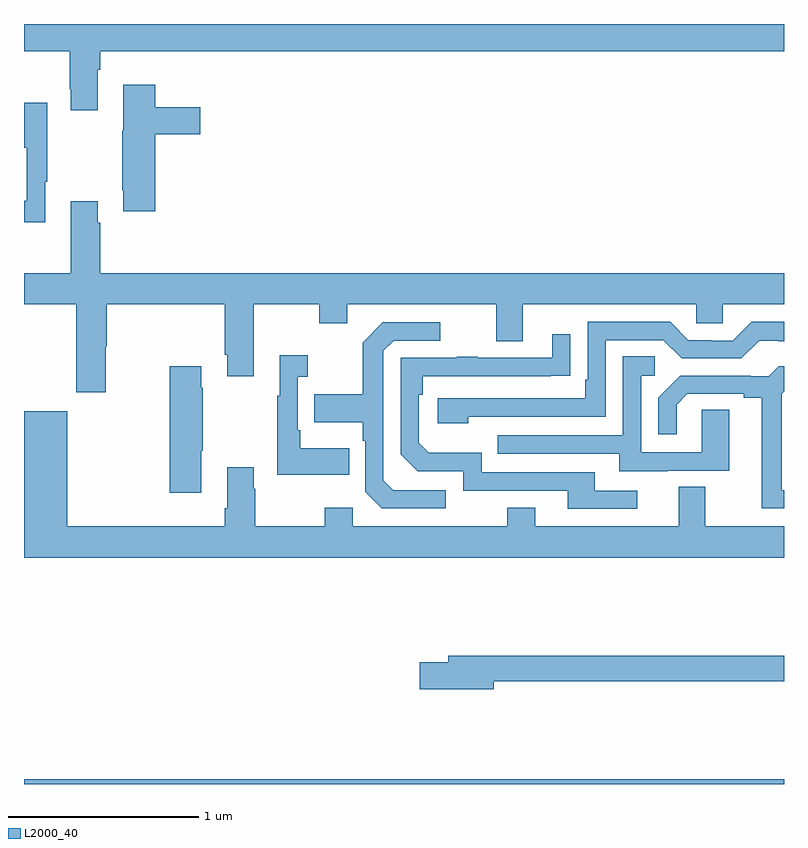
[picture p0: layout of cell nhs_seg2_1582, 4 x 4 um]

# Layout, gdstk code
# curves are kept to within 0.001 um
import gdstk
lib = gdstk.Library(unit=1e-6, precision=1e-09)
def R(c, l, rs):  # rectangles x0, y0, x1, y1
    for r in rs: c.add(gdstk.rectangle(r[:2], r[2:], *l))
def P(c, l, *ps):  # polygons
    for p in ps: c.add(gdstk.Polygon(p, *l))
L2000_40 = (2000, 40)

nhs_seg2_1582 = lib.new_cell('nhs_seg2_1582')
R(nhs_seg2_1582, L2000_40, [(193,623.8,197,623.824)])
P(nhs_seg2_1582, L2000_40, [(193.387,627.56),(193.4,627.56),(193.4,627.656),(197,627.656),(197,627.8),(193,627.8),(193,627.656),(193.24,627.656),(193.24,627.457),(193.247,627.457),(193.247,627.345),(193.387,627.345)],
  [(193.691,627.221),(193.927,627.221),(193.927,627.363),(193.691,627.363),(193.691,627.481),(193.523,627.481),(193.523,627.237),(193.516,627.237),(193.516,626.926),(193.523,626.926),(193.523,626.814),(193.691,626.814)],
  [(193.111,626.969),(193.123,626.969),(193.123,627.385),(193,627.385),(193,627.245),(193.002,627.245),(193.002,627.149),(193.014,627.149),(193.014,626.87),(193,626.87),(193,626.757),(193.111,626.757)],
  [(193.431,626.102),(193.436,626.102),(193.436,626.324),(194.057,626.324),(194.057,626.059),(194.069,626.059),(194.069,625.947),(194.209,625.947),(194.209,626.324),(194.554,626.324),(194.554,626.225),(194.701,626.225),(194.701,626.324),(195.485,626.324),(195.485,626.13),(195.625,626.13),(195.625,626.324),(196.539,626.324),(196.539,626.226),(196.677,626.226),(196.677,626.324),(197,626.324),(197,626.488),(193.4,626.488),(193.4,626.753),(193.387,626.753),(193.387,626.866),(193.247,626.866),(193.247,626.488),(193,626.488),(193,626.324),(193.276,626.324),(193.276,625.863),(193.431,625.863)],
  [(195.338,625.734),(196.062,625.734),(196.062,626.136),(196.365,626.136),(196.461,626.04),(196.776,626.04),(196.869,626.133),(196.969,626.133),(196.969,626.129),(197,626.129),(197,626.233),(196.831,626.233),(196.731,626.133),(196.616,626.133),(196.616,626.136),(196.497,626.136),(196.401,626.232),(195.966,626.232),(195.966,625.927),(195.953,625.927),(195.953,625.83),(195.177,625.83),(195.177,625.7),(195.338,625.7)],
  [(195.22,625.347),(194.943,625.347),(194.892,625.398),(194.892,626.079),(194.946,626.133),(195.19,626.133),(195.19,626.229),(194.889,626.229),(194.784,626.123),(194.784,625.851),(194.527,625.851),(194.527,625.703),(194.784,625.703),(194.784,625.607),(194.796,625.607),(194.796,625.338),(194.883,625.251),(195.22,625.251)],
  [(196.228,625.344),(196.003,625.344),(196.003,625.44),(195.408,625.44),(195.408,625.543),(195.131,625.543),(195.078,625.596),(195.078,625.85),(195.098,625.85),(195.098,625.947),(195.875,625.948),(195.875,626.167),(195.779,626.167),(195.779,626.043),(195.389,626.043),(195.389,626.048),(195.277,626.048),(195.277,626.043),(194.982,626.043),(194.982,625.536),(195.072,625.446),(195.312,625.446),(195.312,625.344),(195.863,625.344),(195.863,625.248),(196.228,625.248)],
  [(194.711,625.567),(194.455,625.567),(194.455,625.663),(194.442,625.663),(194.442,625.943),(194.494,625.943),(194.494,626.056),(194.345,626.056),(194.345,625.843),(194.334,625.843),(194.334,625.427),(194.711,625.427)],
  [(196.387,625.449),(196.711,625.449),(196.711,625.769),(196.566,625.769),(196.566,625.545),(196.248,625.545),(196.248,625.95),(196.321,625.95),(196.321,626.051),(196.152,626.051),(196.152,625.635),(195.493,625.635),(195.493,625.539),(196.133,625.539),(196.133,625.445),(196.387,625.445)],
  [(193.933,625.555),(193.941,625.555),(193.941,625.886),(193.933,625.886),(193.933,625.999),(193.766,625.999),(193.766,625.332),(193.933,625.332)],
  [(197,625.347),(196.987,625.347),(196.987,625.855),(197,625.868),(197,625.999),(196.972,625.999),(196.92,625.947),(196.826,625.947),(196.826,625.95),(196.454,625.95),(196.338,625.834),(196.338,625.641),(196.435,625.641),(196.435,625.797),(196.492,625.854),(196.787,625.854),(196.787,625.832),(196.883,625.832),(196.883,625.251),(197,625.251)],
  [(197,625.156),(196.585,625.156),(196.585,625.364),(196.445,625.364),(196.445,625.156),(195.691,625.156),(195.691,625.255),(195.544,625.255),(195.544,625.156),(194.73,625.156),(194.73,625.255),(194.584,625.255),(194.584,625.156),(194.217,625.156),(194.217,625.355),(194.209,625.355),(194.209,625.468),(194.069,625.468),(194.069,625.252),(194.057,625.252),(194.057,625.156),(193.228,625.156),(193.228,625.762),(193,625.762),(193,624.992),(197,624.992)],
  [(195.472,624.34),(197,624.34),(197,624.476),(195.233,624.476),(195.233,624.44),(195.084,624.44),(195.084,624.298),(195.472,624.298)])

lib.write_gds('nhs_seg2_1582.gds')
